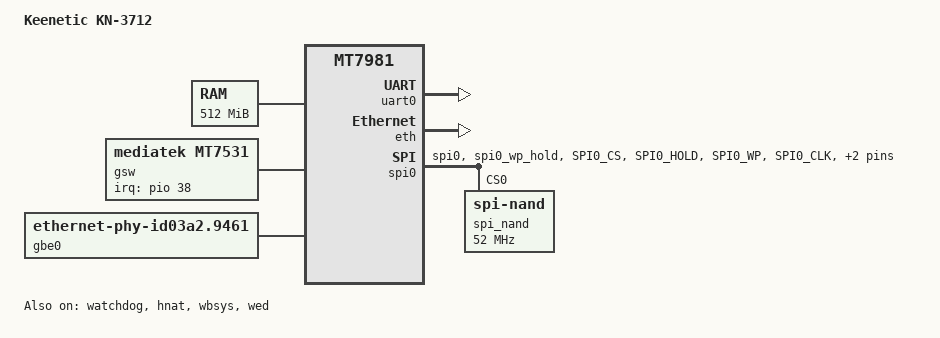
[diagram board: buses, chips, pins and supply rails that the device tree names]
/dts-v1/;
#include <dt-bindings/gpio/gpio.h>
#include <dt-bindings/pinctrl/mt65xx.h>
#include <mediatek/mt7981.dtsi>
/ {
	model = "Keenetic KN-3712";
	compatible = "keenetic,kn-3712", "mediatek,mt7981";

	chosen {
		bootargs = "console=ttyS0,115200n1 loglevel=8 earlycon=uart8250,mmio32,0x11002000";
	};

	memory@40000000 {
		device_type = "memory";
		reg = <0 0x40000000 0 0x20000000>;
	};

	nmbm_spim_nand {
		compatible = "generic,nmbm";
		lower-mtd-device = <&spi_nand>;
		forced-create;
	};

	gsw: gsw-sgmii0 {
		compatible = "mediatek,mt7531";
		#address-cells = <1>;
		#size-cells = <0>;
		mediatek,ethsys = <&ethsys>;
	};

	gbe0: gbe-gmii1 {
		compatible = "ethernet-phy-id03a2.9461";
		#address-cells = <1>;
		#size-cells = <0>;
		reg = <0>;
		nvmem-cells = <&phy_calibration>;
		nvmem-cell-names = "phy-cal-data";
	};
};

&uart0 {
	status = "okay";
};

&watchdog {
	status = "okay";
};

&gsw {
	interrupt-parent = <&pio>;
	interrupts = <38 IRQ_TYPE_LEVEL_HIGH>;
	status = "okay";
};

&eth {
	mediatek,gsw = <&gsw>;
	mediatek,phy = <&gbe0>;
	status = "okay";
};

&hnat {
	eth-max-gmac = <2>;
	status = "okay";
};

&spi0 {
	pinctrl-names = "default";
	pinctrl-0 = <&spi0_flash_pins>;
	status = "okay";

	spi_nand: spi_nand@0 {
		compatible = "spi-nand";
		reg = <0>;
		spi-max-frequency = <52000000>;
		spi-tx-bus-width = <4>;
		spi-rx-bus-width = <4>;
	};
};

&wbsys {
	status = "okay";
};

&wed {
	wdma_rx_ring_depth = <1024>;
	wdma_tx_ring_depth = <1024>;
	status = "okay";
};

&wed_pcie {
	status = "disabled";
};

&pio {
	spi0_flash_pins: spi0-pins-16-to-21 {
		mux {
			function = "spi";
			groups = "spi0", "spi0_wp_hold";
		};

		conf-pu {
			pins = "SPI0_CS", "SPI0_HOLD", "SPI0_WP";
			drive-strength = <MTK_DRIVE_8mA>;
			mediatek,pull-up-adv = <3>;	/* pull-up 75k */
		};

		conf-pd {
			pins = "SPI0_CLK", "SPI0_MOSI", "SPI0_MISO";
			drive-strength = <MTK_DRIVE_8mA>;
			mediatek,pull-down-adv = <3>;	/* pull-down 75k */
		};
	};
};
